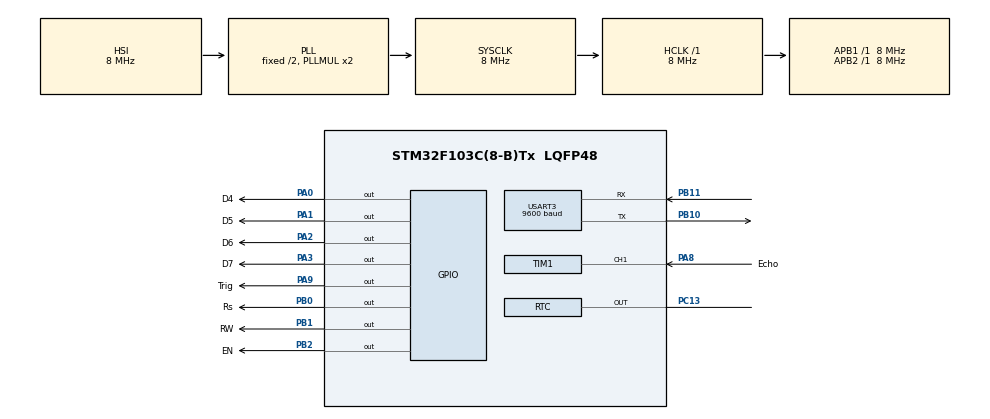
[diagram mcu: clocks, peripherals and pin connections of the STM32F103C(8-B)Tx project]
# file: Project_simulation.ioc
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Mcu.Family=STM32F1
Mcu.Name=STM32F103C(8-B)Tx
Mcu.Package=LQFP48
NVIC.PriorityGroup=NVIC_PRIORITYGROUP_4
NVIC.RTC_Alarm_IRQn=true\:0\:0\:false\:false\:true\:true\:true\:true
NVIC.TIM1_CC_IRQn=true\:0\:0\:false\:false\:true\:true\:true\:true
PA0-WKUP.GPIO_Label=D4
PA0-WKUP.Signal=GPIO_Output
PA1.GPIO_Label=D5
PA1.Signal=GPIO_Output
PA2.GPIO_Label=D6
PA2.Signal=GPIO_Output
PA3.GPIO_Label=D7
PA3.Signal=GPIO_Output
PA8.GPIO_Label=Echo
PA8.Signal=S_TIM1_CH1
PA9.GPIO_Label=Trig
PA9.Signal=GPIO_Output
PB0.GPIO_Label=Rs
PB0.Signal=GPIO_Output
PB1.GPIO_Label=RW
PB1.Signal=GPIO_Output
PB10.Mode=Asynchronous
PB10.Signal=USART3_TX
PB11.Mode=Asynchronous
PB11.Signal=USART3_RX
PB2.GPIO_Label=EN
PB2.Signal=GPIO_Output
PC13-TAMPER-RTC.Mode=RTC OUT
PC13-TAMPER-RTC.Signal=RTC_OUT
ProjectManager.HeapSize=0x200
ProjectManager.StackSize=0x400
ProjectManager.TargetToolchain=STM32CubeIDE
RCC.AHBFreq_Value=8000000
RCC.APB1Freq_Value=8000000
RCC.APB1TimFreq_Value=8000000
RCC.APB2Freq_Value=8000000
RCC.APB2TimFreq_Value=8000000
RCC.HCLKFreq_Value=8000000
RCC.SYSCLKFreq_VALUE=8000000
RCC.SYSCLKSource=RCC_SYSCLKSOURCE_PLLCLK
RCC.USBFreq_Value=8000000
RTC.Format=RTC_FORMAT_BIN
SH.S_TIM1_CH1.0=TIM1_CH1,Input_Capture1_from_TI1
TIM1.Channel-Input_Capture1_from_TI1=TIM_CHANNEL_1
TIM1.Period=0xffff-1
TIM1.Prescaler=8-1
USART3.BaudRate=9600
USART3.VirtualMode=VM_ASYNC
VP_RTC_VS_RTC_Activate.Mode=RTC_Enabled
VP_SYS_VS_ND.Mode=No_Debug
board=custom

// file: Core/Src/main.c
/* USER CODE BEGIN Header */
/**
 ******************************************************************************
 * @file           : main.c
 * @brief          : Main program body
 ******************************************************************************
 * @attention
 *
 * Copyright (c) 2024 STMicroelectronics.
 * All rights reserved.
 *
 * This software is licensed under terms that can be found in the LICENSE file
 * in the root directory of this software component.
 * If no LICENSE file comes with this software, it is provided AS-IS.
 *
 ******************************************************************************
 */
/* USER CODE END Header */
#include "main.h"

/* USER CODE BEGIN Includes */
#include "stdio.h"
/* USER CODE END Includes */

RTC_HandleTypeDef hrtc;

TIM_HandleTypeDef htim1;

UART_HandleTypeDef huart3;

void SystemClock_Config(void);
static void MX_GPIO_Init(void);
static void MX_TIM1_Init(void);
static void MX_USART3_UART_Init(void);
static void MX_RTC_Init(void);

/* USER CODE BEGIN 0 */
void send_Idata(uint8_t data) {
	HAL_Delay(10);
	int temp[4];

	for (int i = 0; i < 4; i++) {

		temp[i] = data % 2;
		data = data >> 1;

	}

	HAL_GPIO_WritePin(GPIOA, GPIO_PIN_0, temp[0]);
	HAL_GPIO_WritePin(GPIOA, GPIO_PIN_1, temp[1]);
	HAL_GPIO_WritePin(GPIOA, GPIO_PIN_2, temp[2]);
	HAL_GPIO_WritePin(GPIOA, GPIO_PIN_3, temp[3]);

	HAL_GPIO_WritePin(GPIOB, GPIO_PIN_2, GPIO_PIN_SET);
	HAL_Delay(2);
	HAL_GPIO_WritePin(GPIOB, GPIO_PIN_2, GPIO_PIN_RESET);

}
void send_command(uint8_t data) {
	HAL_Delay(2);
	HAL_GPIO_WritePin(GPIOB, GPIO_PIN_0, GPIO_PIN_RESET);
	HAL_GPIO_WritePin(GPIOB, GPIO_PIN_1, GPIO_PIN_RESET);

	send_Idata(data >> 4);
	send_Idata(data);

}
void lcd_init(void) {
	HAL_Delay(2);
	send_command(0x02);
	send_command(0x28);
	send_command(0x0F);
}
void send_data(uint8_t data) {
	HAL_Delay(2);
	HAL_GPIO_WritePin(GPIOB, GPIO_PIN_0, GPIO_PIN_SET);
	HAL_GPIO_WritePin(GPIOB, GPIO_PIN_1, GPIO_PIN_RESET);

	send_Idata(data >> 4);

	send_Idata(data);

}

void lcd_puts(uint8_t *str) {
	HAL_Delay(2);
	while (*str != 0x00) {
		send_data(*str);
		str++;
	}
}

void lcd_clear(void) {
	HAL_Delay(1);
	send_command(0x01);

}

void lcd_gotoxy(uint8_t x, uint8_t y) {
	HAL_Delay(1);

	switch (y) {
	case 0:
		send_command(0x80 + x);
		break;
	case 1:
		send_command(0xC0 + x);
		break;

	}
}

void delay(uint16_t time) {
	__HAL_TIM_SET_COUNTER(&htim1, 0);
	while (__HAL_TIM_GET_COUNTER (&htim1) < time)
		;
}

uint32_t IC_Val1 = 0, IC_Val2 = 0, Difference = 0;
uint8_t Is_First_Captured = 0, Distance = 0, buff[32], save = 0;
RTC_TimeTypeDef gTime = { 0 };
RTC_AlarmTypeDef gAlarm = { 0 };

void HAL_TIM_IC_CaptureCallback(TIM_HandleTypeDef *htim) {
	if (htim->Channel == HAL_TIM_ACTIVE_CHANNEL_1) {
		if (Is_First_Captured == 0) {
			IC_Val1 = HAL_TIM_ReadCapturedValue(htim, TIM_CHANNEL_1);
			Is_First_Captured = 1;
			__HAL_TIM_SET_CAPTUREPOLARITY(htim, TIM_CHANNEL_1,
					TIM_INPUTCHANNELPOLARITY_FALLING);
		}

		else if (Is_First_Captured == 1) {
			IC_Val2 = HAL_TIM_ReadCapturedValue(htim, TIM_CHANNEL_1);
			__HAL_TIM_SET_COUNTER(htim, 0);

			if (IC_Val2 > IC_Val1) {
				Difference = IC_Val2 - IC_Val1;
			} else if (IC_Val1 > IC_Val2) {
				Difference = (0xffff - IC_Val1) + IC_Val2;
			}

			Distance = Difference * 0.0343 / 2;
			Is_First_Captured = 0;

			__HAL_TIM_SET_CAPTUREPOLARITY(htim, TIM_CHANNEL_1,
					TIM_INPUTCHANNELPOLARITY_RISING);
			__HAL_TIM_DISABLE_IT(&htim1, TIM_IT_CC1);
		}
	}
}
/* USER CODE END 0 */

int main(void) {
	/* USER CODE BEGIN 1 */
	void HYSRF05_Read(void) {
		HAL_GPIO_WritePin(GPIOA, GPIO_PIN_9, GPIO_PIN_SET);  //TRIG pin HIGH
		delay(10);  //wait for 10 us
		HAL_GPIO_WritePin(GPIOA, GPIO_PIN_9, GPIO_PIN_RESET);  //TRIG pin low

		__HAL_TIM_ENABLE_IT(&htim1, TIM_IT_CC1);
	}
	/* USER CODE END 1 */

	/* MCU Configuration--------------------------------------------------------*/

	/* Reset of all peripherals, Initializes the Flash interface and the Systick. */
	HAL_Init();

	/* Configure the system clock */
	SystemClock_Config();

	/* Initialize all configured peripherals */
	MX_GPIO_Init();
	MX_TIM1_Init();
	MX_USART3_UART_Init();
	MX_RTC_Init();
	/* USER CODE BEGIN 2 */
	HAL_TIM_IC_Start_IT(&htim1, TIM_CHANNEL_1);
	lcd_init();
	/* USER CODE END 2 */

	/* Infinite loop */
	while (1) {

		/* USER CODE BEGIN 3 */
		HYSRF05_Read();
		HAL_Delay(200);
		sprintf(buff, "Distance = %4d \r\n", Distance);
		lcd_gotoxy(0, 0);
		lcd_puts((uint8_t*) buff);
		HAL_UART_Transmit(&huart3, (uint8_t*) buff, strlen(buff),HAL_MAX_DELAY);
	}
	/* USER CODE END 3 */
}

void SystemClock_Config(void) {
	RCC_OscInitTypeDef RCC_OscInitStruct = { 0 };
	RCC_ClkInitTypeDef RCC_ClkInitStruct = { 0 };
	RCC_PeriphCLKInitTypeDef PeriphClkInit = { 0 };

	/** Initializes the RCC Oscillators according to the specified parameters
	 * in the RCC_OscInitTypeDef structure.
	 */
	RCC_OscInitStruct.OscillatorType = RCC_OSCILLATORTYPE_HSI
			| RCC_OSCILLATORTYPE_LSI;
	RCC_OscInitStruct.HSIState = RCC_HSI_ON;
	RCC_OscInitStruct.HSICalibrationValue = RCC_HSICALIBRATION_DEFAULT;
	RCC_OscInitStruct.LSIState = RCC_LSI_ON;
	RCC_OscInitStruct.PLL.PLLState = RCC_PLL_ON;
	RCC_OscInitStruct.PLL.PLLSource = RCC_PLLSOURCE_HSI_DIV2;
	RCC_OscInitStruct.PLL.PLLMUL = RCC_PLL_MUL2;
	if (HAL_RCC_OscConfig(&RCC_OscInitStruct) != HAL_OK) {
		Error_Handler();
	}

	/** Initializes the CPU, AHB and APB buses clocks
	 */
	RCC_ClkInitStruct.ClockType = RCC_CLOCKTYPE_HCLK | RCC_CLOCKTYPE_SYSCLK
			| RCC_CLOCKTYPE_PCLK1 | RCC_CLOCKTYPE_PCLK2;
	RCC_ClkInitStruct.SYSCLKSource = RCC_SYSCLKSOURCE_PLLCLK;
	RCC_ClkInitStruct.AHBCLKDivider = RCC_SYSCLK_DIV1;
	RCC_ClkInitStruct.APB1CLKDivider = RCC_HCLK_DIV1;
	RCC_ClkInitStruct.APB2CLKDivider = RCC_HCLK_DIV1;

	if (HAL_RCC_ClockConfig(&RCC_ClkInitStruct, FLASH_LATENCY_0) != HAL_OK) {
		Error_Handler();
	}
	PeriphClkInit.PeriphClockSelection = RCC_PERIPHCLK_RTC;
	PeriphClkInit.RTCClockSelection = RCC_RTCCLKSOURCE_LSI;
	if (HAL_RCCEx_PeriphCLKConfig(&PeriphClkInit) != HAL_OK) {
		Error_Handler();
	}
}

static void MX_RTC_Init(void) {

	RTC_TimeTypeDef sTime = { 0 };
	RTC_DateTypeDef DateToUpdate = { 0 };
	RTC_AlarmTypeDef sAlarm = { 0 };

	/** Initialize RTC Only
	 */
	hrtc.Instance = RTC;
	hrtc.Init.AsynchPrediv = RTC_AUTO_1_SECOND;
	hrtc.Init.OutPut = RTC_OUTPUTSOURCE_ALARM;
	if (HAL_RTC_Init(&hrtc) != HAL_OK) {
		Error_Handler();
	}

	/** Initialize RTC and set the Time and Date
	 */
	sTime.Hours = 0;
	sTime.Minutes = 0;
	sTime.Seconds = 0;

	if (HAL_RTC_SetTime(&hrtc, &sTime, RTC_FORMAT_BIN) != HAL_OK) {
		Error_Handler();
	}
	DateToUpdate.WeekDay = RTC_WEEKDAY_MONDAY;
	DateToUpdate.Month = RTC_MONTH_JANUARY;
	DateToUpdate.Date = 1;
	DateToUpdate.Year = 0;

	if (HAL_RTC_SetDate(&hrtc, &DateToUpdate, RTC_FORMAT_BIN) != HAL_OK) {
		Error_Handler();
	}

	/** Enable the Alarm A
	 */
	sAlarm.AlarmTime.Hours = 0;
	sAlarm.AlarmTime.Minutes = 0;
	sAlarm.AlarmTime.Seconds = 0;
	sAlarm.Alarm = RTC_ALARM_A;
	if (HAL_RTC_SetAlarm_IT(&hrtc, &sAlarm, RTC_FORMAT_BIN) != HAL_OK) {
		Error_Handler();
	}

}

static void MX_TIM1_Init(void) {

	TIM_MasterConfigTypeDef sMasterConfig = { 0 };
	TIM_IC_InitTypeDef sConfigIC = { 0 };

	htim1.Instance = TIM1;
	htim1.Init.Prescaler = 8 - 1;
	htim1.Init.CounterMode = TIM_COUNTERMODE_UP;
	htim1.Init.Period = 0xffff - 1;
	htim1.Init.ClockDivision = TIM_CLOCKDIVISION_DIV1;
	htim1.Init.RepetitionCounter = 0;
	htim1.Init.AutoReloadPreload = TIM_AUTORELOAD_PRELOAD_DISABLE;
	if (HAL_TIM_IC_Init(&htim1) != HAL_OK) {
		Error_Handler();
	}
	sMasterConfig.MasterOutputTrigger = TIM_TRGO_RESET;
	sMasterConfig.MasterSlaveMode = TIM_MASTERSLAVEMODE_DISABLE;
	if (HAL_TIMEx_MasterConfigSynchronization(&htim1, &sMasterConfig)
			!= HAL_OK) {
		Error_Handler();
	}
	sConfigIC.ICPolarity = TIM_INPUTCHANNELPOLARITY_RISING;
	sConfigIC.ICSelection = TIM_ICSELECTION_DIRECTTI;
	sConfigIC.ICPrescaler = TIM_ICPSC_DIV1;
	sConfigIC.ICFilter = 0;
	if (HAL_TIM_IC_ConfigChannel(&htim1, &sConfigIC, TIM_CHANNEL_1) != HAL_OK) {
		Error_Handler();
	}

}

static void MX_USART3_UART_Init(void) {

	huart3.Instance = USART3;
	huart3.Init.BaudRate = 9600;
	huart3.Init.WordLength = UART_WORDLENGTH_8B;
	huart3.Init.StopBits = UART_STOPBITS_1;
	huart3.Init.Parity = UART_PARITY_NONE;
	huart3.Init.Mode = UART_MODE_TX_RX;
	huart3.Init.HwFlowCtl = UART_HWCONTROL_NONE;
	huart3.Init.OverSampling = UART_OVERSAMPLING_16;
	if (HAL_UART_Init(&huart3) != HAL_OK) {
		Error_Handler();
	}

}

static void MX_GPIO_Init(void) {
	GPIO_InitTypeDef GPIO_InitStruct = { 0 };

	/* GPIO Ports Clock Enable */
	__HAL_RCC_GPIOC_CLK_ENABLE();
	__HAL_RCC_GPIOA_CLK_ENABLE();
	__HAL_RCC_GPIOB_CLK_ENABLE();

	/*Configure GPIO pin Output Level */
	HAL_GPIO_WritePin(GPIOA, D4_Pin | D5_Pin | D6_Pin | D7_Pin | Trig_Pin,
			GPIO_PIN_RESET);

	/*Configure GPIO pin Output Level */
	HAL_GPIO_WritePin(GPIOB, Rs_Pin | RW_Pin | EN_Pin, GPIO_PIN_RESET);

	/*Configure GPIO pins : D4_Pin D5_Pin D6_Pin D7_Pin
	 Trig_Pin */
	GPIO_InitStruct.Pin = D4_Pin | D5_Pin | D6_Pin | D7_Pin | Trig_Pin;
	GPIO_InitStruct.Mode = GPIO_MODE_OUTPUT_PP;
	GPIO_InitStruct.Pull = GPIO_NOPULL;
	GPIO_InitStruct.Speed = GPIO_SPEED_FREQ_LOW;
	HAL_GPIO_Init(GPIOA, &GPIO_InitStruct);

	/*Configure GPIO pins : Rs_Pin RW_Pin EN_Pin */
	GPIO_InitStruct.Pin = Rs_Pin | RW_Pin | EN_Pin;
	GPIO_InitStruct.Mode = GPIO_MODE_OUTPUT_PP;
	GPIO_InitStruct.Pull = GPIO_NOPULL;
	GPIO_InitStruct.Speed = GPIO_SPEED_FREQ_LOW;
	HAL_GPIO_Init(GPIOB, &GPIO_InitStruct);

}

void Error_Handler(void) {
	__disable_irq();
	while (1) {
	}
}
